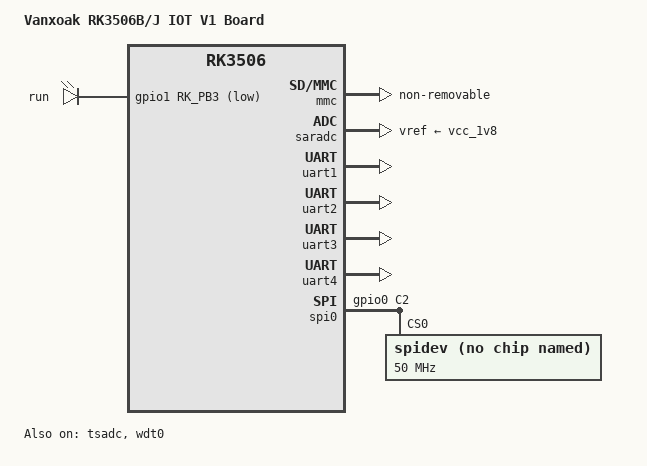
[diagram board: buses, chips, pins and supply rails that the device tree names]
// SPDX-License-Identifier: (GPL-2.0+ OR MIT)
/*
 * Copyright (c) 2024 Rockchip Electronics Co., Ltd.
 */

/dts-v1/;

#include "rk3506.dtsi"
//#include "rk3502.dtsi"
#include "vanxoak-hd-rk3506-iot-v1.dtsi"
//#include "vanxoak-hd-rk3506-iot-rgb-800x480.dtsi"

/ {
	model = "Vanxoak RK3506B/J IOT V1 Board";
	compatible = "rockchip,rk3506-iot-v1", "rockchip,rk3506";
	
		// LED
	leds {
		compatible = "gpio-leds";
		status = "okay";
		pinctrl-names = "default";
		pinctrl-0 = <&user_gpio_pins>;

		heart_led {
			label = "run";
			gpios = <&gpio1 RK_PB3 GPIO_ACTIVE_LOW>;
			linux,default-trigger = "heartbeat";
			default-state = "off";
		};
	};

	reserved-memory {
		#address-cells = <1>;
		#size-cells = <1>;
		ranges;


		drm_logo: drm-logo@0 {
			compatible = "rockchip,drm-logo";
			reg = <0x0 0x0>;
		};
	};

	chosen {
		bootargs = "earlycon=uart8250,mmio32,0xff0a0000 console=ttyFIQ0 isolcpus=2 root=PARTUUID=614e0000-0000 rw rootwait snd_aloop.index=7 snd_aloop.use_raw_jiffies=1";
	};
};

&pinctrl {
	/* External RTK PPS: input only; userspace requests rising-edge events. */
	rtk_pps_input_cfg: rtk-pps-input-cfg {
		bias-disable;
		input-enable;
	};

	user_gpios {
		user_gpio_pins: user-gpio-pins {
			rockchip,pins = 
				/* VO_LCDC_D4 -> GPIO1_C7 */
				<1 RK_PC7 RK_FUNC_GPIO &pcfg_pull_none>,
				/* VO_LCDC_D3 -> GPIO1_D0 */
				<1 RK_PD0 RK_FUNC_GPIO &pcfg_pull_none>,
				/* VO_LCDC_D2 -> GPIO1_D1 */
				/* <1 RK_PD1 RK_FUNC_GPIO &pcfg_pull_none>, */
				/* I2C2_SCL -> GPIO0_A4 */
				<0 RK_PA4 RK_FUNC_GPIO &pcfg_pull_none>,
				/* I2C2_SDA -> GPIO0_A5 */
				<0 RK_PA5 RK_FUNC_GPIO &pcfg_pull_none>,
				/* CAN1_TX -> GPIO0_B5 */
				<0 RK_PB5 RK_FUNC_GPIO &pcfg_pull_none>,
				/* CAN1_RX -> GPIO0_C2 (Note: used as spi_irq_pin) */
				/* CAN0_TX -> GPIO0_C3 */
				<0 RK_PC3 RK_FUNC_GPIO &pcfg_pull_none>,
				/* CAN0_RX -> GPIO0_C4 */
				<0 RK_PC4 RK_FUNC_GPIO &pcfg_pull_none>,
				/* SAI1_MCLK -> GPIO0_B0 */
				<0 RK_PB0 RK_FUNC_GPIO &pcfg_pull_none>,
				/* SAI1_SCLK -> GPIO0_B1 */
				/* <0 RK_PB1 RK_FUNC_GPIO &pcfg_pull_none>; */
				/* VO_LCDC_D10 -> GPIO1_C1 */
				<1 RK_PC1 RK_FUNC_GPIO &pcfg_pull_none>,
				/* VO_LCDC_D9 -> GPIO1_C2 -> RTK_PPS */
				<1 RK_PC2 RK_FUNC_GPIO &rtk_pps_input_cfg>,
				/* VO_LCDC_D8 -> GPIO1_C3 */
				<1 RK_PC3 RK_FUNC_GPIO &pcfg_pull_none>,
				/* VO_LCDC_D7 -> GPIO1_C4 */
				<1 RK_PC4 RK_FUNC_GPIO &pcfg_pull_none>,
				/* VO_LCDC_D6 -> GPIO1_C5 */
				<1 RK_PC5 RK_FUNC_GPIO &pcfg_pull_none>,
				/* VO_LCDC_D5 -> GPIO1_C6 */
				<1 RK_PC6 RK_FUNC_GPIO &pcfg_pull_none>,
				/* GPIO1_C0_d */
				<1 RK_PC0 RK_FUNC_GPIO &pcfg_pull_none>,
				/* GPIO1_B7_d */
				<1 RK_PB7 RK_FUNC_GPIO &pcfg_pull_none>;
		};
	};
};

&fspi {
	status = "disabled";
};

&mmc {
	//For eMMC
	no-sdio;
	no-sd;
	cap-mmc-highspeed;
	cap-sd-highspeed;
	non-removable;
	mmc-hs200-1_8v;
	pinctrl-names = "default";
	pinctrl-0 = <&sdmmc_clk_pins &sdmmc_cmd_pins &sdmmc_bus4_pins>;
	status = "okay";
};

&tsadc {
	status = "okay";
};

&saradc {
	vref-supply = <&vcc_1v8>;
	status = "okay";
};

&uart1 {
	pinctrl-names = "default";
	pinctrl-0 = <&rm_io16_uart1_rx &rm_io17_uart1_tx>;
	status = "okay";
};

&uart2 {
	pinctrl-names = "default";
	pinctrl-0 = <&rm_io0_uart2_rx &rm_io2_uart2_tx>;
	status = "okay";
};

&uart3 {
	pinctrl-names = "default";
	pinctrl-0 = <&rm_io15_uart3_rx &rm_io14_uart3_tx>;
	status = "okay";
};

&uart4 {
	pinctrl-names = "default";
	pinctrl-0 = <&rm_io30_uart4_rx &rm_io31_uart4_tx>;
	status = "okay";
};

&pinctrl {
	spi-slave-gpio {
		spi_irq_pin: spi-irq-pin {
			// RK_PC2 对应 GPIO0_C2
			rockchip,pins = <0 RK_PC2 RK_FUNC_GPIO &pcfg_pull_down>;
		};
	};


};

&spi0 {
	pinctrl-names = "default";
	pinctrl-0 = <&rm_io7_spi0_csn0 &rm_io3_spi0_mosi &rm_io6_spi0_miso &rm_io1_spi0_clk &spi_irq_pin>;
	status = "okay";

	spidev@0 {
		compatible = "rockchip,spidev";
		reg = <0>;
		spi-max-frequency = <50000000>;
		status = "okay";
	};
};

/* 禁用冲突模块 */
&vop { status = "disabled"; };
&dsi_in_vop { status = "disabled"; };
&rgb_in_vop { status = "disabled"; };
&route_dsi { status = "disabled"; };
&route_rgb { status = "disabled"; };
&i2c2 { status = "disabled"; };
&can0 { status = "disabled"; };
&can1 { status = "disabled"; };
&sai1 { status = "disabled"; };

/* Linux-only internal watchdog; wdt1 and external GPIO watchdog stay unused. */
&wdt0 {
	status = "okay";
	timeout-sec = <60>;
};



